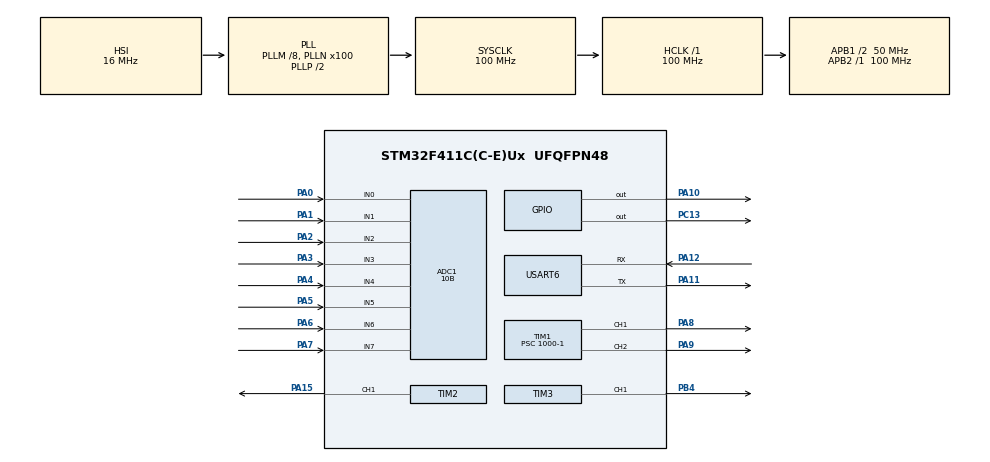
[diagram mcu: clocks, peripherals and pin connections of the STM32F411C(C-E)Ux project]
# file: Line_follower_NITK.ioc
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ADC1.Channel-0\#ChannelRegularConversion=ADC_CHANNEL_0
ADC1.Channel-1\#ChannelRegularConversion=ADC_CHANNEL_1
ADC1.Channel-10\#ChannelRegularConversion=ADC_CHANNEL_6
ADC1.Channel-11\#ChannelRegularConversion=ADC_CHANNEL_7
ADC1.Channel-6\#ChannelRegularConversion=ADC_CHANNEL_2
ADC1.Channel-7\#ChannelRegularConversion=ADC_CHANNEL_3
ADC1.Channel-8\#ChannelRegularConversion=ADC_CHANNEL_4
ADC1.Channel-9\#ChannelRegularConversion=ADC_CHANNEL_5
ADC1.ClockPrescaler=ADC_CLOCK_SYNC_PCLK_DIV4
ADC1.ContinuousConvMode=DISABLE
ADC1.DMAContinuousRequests=ENABLE
ADC1.EOCSelection=ADC_EOC_SEQ_CONV
ADC1.InjNumberOfConversion=0
ADC1.NbrOfConversion=8
ADC1.NbrOfConversionFlag=1
ADC1.Rank-0\#ChannelRegularConversion=1
ADC1.Rank-1\#ChannelRegularConversion=2
ADC1.Rank-10\#ChannelRegularConversion=7
ADC1.Rank-11\#ChannelRegularConversion=8
ADC1.Rank-6\#ChannelRegularConversion=3
ADC1.Rank-7\#ChannelRegularConversion=4
ADC1.Rank-8\#ChannelRegularConversion=5
ADC1.Rank-9\#ChannelRegularConversion=6
ADC1.Resolution=ADC_RESOLUTION_10B
ADC1.SamplingTime-0\#ChannelRegularConversion=ADC_SAMPLETIME_84CYCLES
ADC1.SamplingTime-1\#ChannelRegularConversion=ADC_SAMPLETIME_84CYCLES
ADC1.SamplingTime-10\#ChannelRegularConversion=ADC_SAMPLETIME_84CYCLES
ADC1.SamplingTime-11\#ChannelRegularConversion=ADC_SAMPLETIME_84CYCLES
ADC1.SamplingTime-6\#ChannelRegularConversion=ADC_SAMPLETIME_84CYCLES
ADC1.SamplingTime-7\#ChannelRegularConversion=ADC_SAMPLETIME_84CYCLES
ADC1.SamplingTime-8\#ChannelRegularConversion=ADC_SAMPLETIME_84CYCLES
ADC1.SamplingTime-9\#ChannelRegularConversion=ADC_SAMPLETIME_84CYCLES
ADC1.ScanConvMode=ENABLE
ADC1.master=1
Dma.ADC1.0.Direction=DMA_PERIPH_TO_MEMORY
Dma.ADC1.0.FIFOMode=DMA_FIFOMODE_DISABLE
Dma.ADC1.0.Instance=DMA2_Stream0
Dma.ADC1.0.MemDataAlignment=DMA_MDATAALIGN_WORD
Dma.ADC1.0.MemInc=DMA_MINC_ENABLE
Dma.ADC1.0.Mode=DMA_NORMAL
Dma.ADC1.0.PeriphDataAlignment=DMA_PDATAALIGN_WORD
Dma.ADC1.0.PeriphInc=DMA_PINC_DISABLE
Dma.ADC1.0.Priority=DMA_PRIORITY_VERY_HIGH
Dma.Request0=ADC1
Dma.Request1=USART6_RX
Dma.USART6_RX.1.Direction=DMA_PERIPH_TO_MEMORY
Dma.USART6_RX.1.FIFOMode=DMA_FIFOMODE_DISABLE
Dma.USART6_RX.1.Instance=DMA2_Stream1
Dma.USART6_RX.1.MemDataAlignment=DMA_MDATAALIGN_BYTE
Dma.USART6_RX.1.MemInc=DMA_MINC_ENABLE
Dma.USART6_RX.1.Mode=DMA_NORMAL
Dma.USART6_RX.1.PeriphDataAlignment=DMA_PDATAALIGN_BYTE
Dma.USART6_RX.1.PeriphInc=DMA_PINC_DISABLE
Dma.USART6_RX.1.Priority=DMA_PRIORITY_LOW
Mcu.Family=STM32F4
Mcu.Name=STM32F411C(C-E)Ux
Mcu.Package=UFQFPN48
NVIC.ADC_IRQn=true\:0\:0\:false\:true\:true\:1\:true\:true\:true
NVIC.DMA2_Stream0_IRQn=true\:0\:0\:true\:false\:true\:false\:true\:true
NVIC.DMA2_Stream1_IRQn=true\:0\:0\:false\:false\:true\:false\:true\:true
NVIC.PriorityGroup=NVIC_PRIORITYGROUP_4
NVIC.USART6_IRQn=true\:0\:0\:false\:false\:true\:true\:true\:true
PA0-WKUP.Signal=ADCx_IN0
PA1.Signal=ADCx_IN1
PA10.GPIO_PuPd=GPIO_PULLDOWN
PA10.Signal=GPIO_Output
PA11.Mode=Asynchronous
PA11.Signal=USART6_TX
PA12.Mode=Asynchronous
PA12.Signal=USART6_RX
PA13.Mode=Trace_Asynchronous_SW
PA13.Signal=SYS_JTMS-SWDIO
PA14.Mode=Trace_Asynchronous_SW
PA14.Signal=SYS_JTCK-SWCLK
PA15.Signal=S_TIM2_CH1_ETR
PA2.Signal=ADCx_IN2
PA3.Signal=ADCx_IN3
PA4.Signal=ADCx_IN4
PA5.Signal=ADCx_IN5
PA6.Signal=ADCx_IN6
PA7.Signal=ADCx_IN7
PA8.Signal=S_TIM1_CH1
PA9.Signal=S_TIM1_CH2
PB3.Mode=Trace_Asynchronous_SW
PB3.Signal=SYS_JTDO-SWO
PB4.Signal=S_TIM3_CH1
PC13-ANTI_TAMP.Signal=GPIO_Output
PH0\ -\ OSC_IN.Mode=HSE-External-Oscillator
PH0\ -\ OSC_IN.Signal=RCC_OSC_IN
PH1\ -\ OSC_OUT.Mode=HSE-External-Oscillator
PH1\ -\ OSC_OUT.Signal=RCC_OSC_OUT
ProjectManager.HeapSize=0x200
ProjectManager.StackSize=0x400
ProjectManager.TargetToolchain=STM32CubeIDE
RCC.48MHZClocksFreq_Value=50000000
RCC.AHBFreq_Value=100000000
RCC.APB1CLKDivider=RCC_HCLK_DIV2
RCC.APB1Freq_Value=50000000
RCC.APB1TimFreq_Value=100000000
RCC.APB2Freq_Value=100000000
RCC.APB2TimFreq_Value=100000000
RCC.CortexFreq_Value=100000000
RCC.HCLKFreq_Value=100000000
RCC.HSE_VALUE=25000000
RCC.HSI_VALUE=16000000
RCC.LSE_VALUE=32768
RCC.PLLM=8
RCC.PLLN=100
RCC.SYSCLKFreq_VALUE=100000000
RCC.SYSCLKSource=RCC_SYSCLKSOURCE_PLLCLK
RCC.VCOOutputFreq_Value=200000000
SH.ADCx_IN0.0=ADC1_IN0,IN0
SH.ADCx_IN1.0=ADC1_IN1,IN1
SH.ADCx_IN2.0=ADC1_IN2,IN2
SH.ADCx_IN3.0=ADC1_IN3,IN3
SH.ADCx_IN4.0=ADC1_IN4,IN4
SH.ADCx_IN5.0=ADC1_IN5,IN5
SH.ADCx_IN6.0=ADC1_IN6,IN6
SH.ADCx_IN7.0=ADC1_IN7,IN7
SH.S_TIM1_CH1.0=TIM1_CH1,PWM Generation1 CH1
SH.S_TIM1_CH2.0=TIM1_CH2,PWM Generation2 CH2
SH.S_TIM2_CH1_ETR.0=TIM2_CH1,PWM Generation1 CH1
SH.S_TIM3_CH1.0=TIM3_CH1,PWM Generation1 CH1
TIM1.Channel-PWM\ Generation1\ CH1=TIM_CHANNEL_1
TIM1.Channel-PWM\ Generation2\ CH2=TIM_CHANNEL_2
TIM1.Period=200
TIM1.Prescaler=1000-1
TIM2.Channel-PWM\ Generation1\ CH1=TIM_CHANNEL_1
TIM2.Period=200
TIM2.Prescaler=1000-1
TIM3.Channel-PWM\ Generation1\ CH1=TIM_CHANNEL_1
TIM3.Period=100
TIM3.Prescaler=1000-1
USART6.VirtualMode=VM_ASYNC
board=custom

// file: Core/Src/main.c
/* USER CODE BEGIN Header */
/**
  ******************************************************************************
  * @file           : main.c
  * @brief          : Main program body
  ******************************************************************************
  * @attention
  *
  * Copyright (c) 2024 STMicroelectronics.
  * All rights reserved.
  *
  * This software is licensed under terms that can be found in the LICENSE file
  * in the root directory of this software component.
  * If no LICENSE file comes with this software, it is provided AS-IS.
  *
  ******************************************************************************
  */
/* USER CODE END Header */
#include "main.h"

/* USER CODE BEGIN Includes */
#include "stdbool.h"
#include "stdlib.h"
#include "string.h"
#include "stdio.h"
/* USER CODE END Includes */

ADC_HandleTypeDef hadc1;
DMA_HandleTypeDef hdma_adc1;

TIM_HandleTypeDef htim1;
TIM_HandleTypeDef htim2;
TIM_HandleTypeDef htim3;

UART_HandleTypeDef huart6;
DMA_HandleTypeDef hdma_usart6_rx;

/* USER CODE BEGIN PV */

uint32_t channels[3] = { ADC_CHANNEL_0, ADC_CHANNEL_1, ADC_CHANNEL_2,ADC_CHANNEL_3, ADC_CHANNEL_4, ADC_CHANNEL_5, ADC_CHANNEL_6,ADC_CHANNEL_7 }, adc_buffer[8];
uint8_t rx_buffer[16] , main_buffer[16];
int i ;

//int P, D, I, previousError, PIDvalue;
//double error;
//int lsp, rsp;
//int lfSpeed = 100;
//int currentSpeed = 150;
int sensorWeight[8] = {70, 60, 50, 40, 30, 20, 10, 0};
//int activeSensors;
float Kp = 13.5;
float Kd = 4;
float Ki = 0.01;
int thresh = 900;
//int onLine = 1;
int minValues[8], maxValues[8], threshold[8], sensorValue[8], sensorArray[8];
//
//bool brakeFlag = 0;

double error, P, I, D;
int setpoint = 35;
double correction = 0, lastInput = 0;
uint32_t lastTime = 0;
double integralMin = -25.0, integralMax = 25.0;
//double base_speed_right = 150;
//double base_speed_left = 150;
double base_speed = 200;
int turn;
int junction;
int junction_flag = 0;
int loop_counter = 0;
int last_turn = 0;

char message[8];

/* USER CODE END PV */

void SystemClock_Config(void);
static void MX_GPIO_Init(void);
static void MX_DMA_Init(void);
static void MX_ADC1_Init(void);
static void MX_TIM1_Init(void);
static void MX_TIM2_Init(void);
static void MX_TIM3_Init(void);
static void MX_USART6_UART_Init(void);
static void MX_NVIC_Init(void);

/* USER CODE BEGIN 0 */

int _write(int file, char *ptr, int len) {
	int DataIdx;
	for (DataIdx = 0; DataIdx < len; DataIdx++) {
		ITM_SendChar(*ptr++);
	}
	return len;
}
void setMotorSpeed(uint8_t motor, int32_t speed) {
	uint16_t pwm = abs(speed);
	if (pwm > 200)
		pwm = 200;

	if (motor == 0) { // Motor 1
		if (speed > 0) {
			TIM1->CCR1 = pwm;  // Set PWM duty cycle for channel 1
			TIM1->CCR2 = 0;          // Set PWM duty cycle for channel 2
		} else {
			TIM1->CCR1 = 0;          // Set PWM duty cycle for channel 1
			TIM1->CCR2 = pwm;  // Set PWM duty cycle for channel 2
		}
	} else if (motor == 1) { // Motor 2
		if (speed > 0) {
			TIM2->CCR1 = pwm;  // Set PWM duty cycle for channel 3
			TIM3->CCR1 = 0;          // Set PWM duty cycle for channel 4
		} else {
			TIM2->CCR1 = 0;          // Set PWM duty cycle for channel 3
			TIM3->CCR1 = pwm;  // Set PWM duty cycle for channel 4
		}
	}

}

void setPIDParameter(char *input) {
    char *ptr = input;

    while (*ptr != '\0') {
        char type = *ptr;
        ptr++;

        char valueStr[10] = {0};
        int i = 0;

        while (*ptr != 'P' && *ptr != 'p' && *ptr != 'I' && *ptr != 'i' && *ptr != 'D' && *ptr != 'd' && *ptr != 'T' && *ptr != 't' && *ptr != '\0') {
            valueStr[i++] = *ptr++;
        }

        float value = atof(valueStr);

        switch (type) {
            case 'P': case 'p':
                Kp = value;
                break;
            case 'I': case 'i':
                Ki = value;
                break;
            case 'D': case 'd':
                Kd = value;
                break;
            case 'T': case 't':
            	thresh = value;
                break;
        }

    }
}

void HAL_UARTEx_RxEventCallback(UART_HandleTypeDef *huart, uint16_t Size){

	if (huart->Instance == USART6){
		memset(main_buffer , '\0' , 16);
		memcpy(main_buffer , rx_buffer , Size);
		memset(rx_buffer , '\0' , 16);
		HAL_UARTEx_ReceiveToIdle_DMA(&huart6, rx_buffer, 16);
		__HAL_DMA_DISABLE_IT(&hdma_usart6_rx , DMA_IT_HT);
		setPIDParameter((uint8_t*) main_buffer);
	}
}

//void readLine() {
////  onLine = 0;
//  for (int i = 0; i < 8; i++) {
//    sensorArray[i] = adc_buffer[i] > 500;
////    sprintf(message , " %s ", adc_buffer);
////    HAL_UART_Transmit(&huart6, message,  sizeof(message) , HAL_MAX_DELAY);
////    sprintf(message , " %d ", sensorArray[i]);
////    HAL_UART_Transmit(&huart6, sensorArray,  strlen(message), HAL_MAX_DELAY);
////    if (sensorArray[i]) onLine = 1;
//  }
//
//}

int line_data() {
    int sum = 0;
    int weighted_sum = 0;
    int onLine = 0;

    for (int i = 0; i < 8; i++) {
        if (adc_buffer[i]  > thresh) {
            weighted_sum += sensorWeight[i];
            sum += 1;
            onLine = 1;
        }

    }

    if (!onLine) {
        return 255;
    }

    int position = weighted_sum / sum;
    return position;
}

void computePID(double error, int32_t input) {

	double timeChange = (double) (HAL_GetTick() - lastTime);
//	printf("Inside compute pid error = %f\n", error);
	P = Kp * error;
	I += Ki * error * timeChange;
	if (I > integralMax) I = integralMax;
	if (I < integralMin) I = integralMin;
	D = Kd * (input - lastInput) / timeChange;

	correction = P + I + D;
	lastInput = input;
	lastTime = HAL_GetTick();
	correction = floor(correction);
//	base_speed_right = floor(base_speed_right);
//	base_speed_left = floor(base_speed_left);

//	printf("input = %d\n", input);
//	printf("lastinput = %lf\n", lastInput);
//	printf("P = %f\n", P);
//	printf("I = %f\n", I);
//	printf("D = %f\n", D);
////	base_speed_right -= correction;
////	base_speed_left += correction;
//	printf("correction = %f\n", correction);
////	printf("motor0: %f, motor1:%f\n" ,base_speed_left,base_speed_right);
////	setMotorSpeed(0, base_speed_left);
////	setMotorSpeed(1, base_speed_right);
//	printf("motor0: %f, motor1:%f\n", base_speed + correction,
//			base_speed - correction);
	setMotorSpeed(0, base_speed - correction);
	setMotorSpeed(1, base_speed + correction);

}

/* USER CODE END 0 */

int main(void)
{

  /* MCU Configuration--------------------------------------------------------*/

  /* Reset of all peripherals, Initializes the Flash interface and the Systick. */
  HAL_Init();

  /* Configure the system clock */
  SystemClock_Config();

  /* Initialize all configured peripherals */
  MX_GPIO_Init();
  MX_DMA_Init();
  MX_ADC1_Init();
  MX_TIM1_Init();
  MX_TIM2_Init();
  MX_TIM3_Init();
  MX_USART6_UART_Init();

  /* Initialize interrupts */
  MX_NVIC_Init();
  /* USER CODE BEGIN 2 */
	HAL_ADC_Start_IT(&hadc1);
	HAL_ADC_Start_DMA(&hadc1, (uint32_t*) adc_buffer, 8);
	HAL_TIM_PWM_Start(&htim1, TIM_CHANNEL_1);
	HAL_TIM_PWM_Start(&htim1, TIM_CHANNEL_2);
	HAL_TIM_PWM_Start(&htim3, TIM_CHANNEL_1);
	HAL_TIM_PWM_Start(&htim2, TIM_CHANNEL_1);
	HAL_UARTEx_ReceiveToIdle_DMA(&huart6, rx_buffer, 16);
	__HAL_DMA_DISABLE_IT(&hdma_usart6_rx , DMA_IT_HT);

  /* USER CODE END 2 */

  /* Infinite loop */
  while (1)
  {

    /* USER CODE BEGIN 3 */
		for (int i = 0; i < 8; i++) {
			if (adc_buffer[i] > 500){
				//printf(" | ");
				HAL_UART_Transmit(&huart6," | " , 3, HAL_MAX_DELAY);
			}
			else{
				//printf(" 0 ");
				HAL_UART_Transmit(&huart6," 0 " , 3, HAL_MAX_DELAY);
			}

//			printf("%d  ", adc_buffer[i]);
		}
		//printf("\n");
//		HAL_UART_Transmit(&huart6," \n " , 3, HAL_MAX_DELAY);
//		HAL_ADC_Start_DMA(&hadc1, (uint32_t*) adc_buffer, 8);
	 int input = line_data();

	    turn = (input > 50 && input <= 70) ? -1 : (input < 20) ? -1 : turn;

	    if (turn) {
	        while (input == 255) {

	            if (turn == 1) {
	                setMotorSpeed(0, 150);
	                setMotorSpeed(1, -150);
	            } else if (turn == -1) {
	                setMotorSpeed(0, -150);
	                setMotorSpeed(1, 150);
	            }
	    		HAL_ADC_Start_DMA(&hadc1, (uint32_t*) adc_buffer, 8);
	            input = line_data();

	        }
			HAL_ADC_Start_DMA(&hadc1, (uint32_t*) adc_buffer, 8);
	        input = line_data();
	    }

	    turn = (input > 52 && input <= 70) ? -1 : (input < 20) ? 1 : turn;

	    if (input == 255) {
	        continue;
	    }
	    sprintf(message , " %d\n ", line_data());
	    HAL_UART_Transmit(&huart6, (uint8_t *)message,  strlen(message), HAL_MAX_DELAY);

	    double error = input - setpoint;
	    computePID(error, input);

//		for (i = 0; i < 200; ++i) {
//			setMotorSpeed(0, i);
//			setMotorSpeed(1, i);
//		    sprintf(message , " %d\n ", i);
//			 HAL_UART_Transmit(&huart6, (uint8_t *)message,  strlen(message), HAL_MAX_DELAY);
//			HAL_Delay(500);
//		}

		HAL_ADC_Start_DMA(&hadc1, (uint32_t*) adc_buffer, 8);

  }
  /* USER CODE END 3 */
}

void SystemClock_Config(void)
{
  RCC_OscInitTypeDef RCC_OscInitStruct = {0};
  RCC_ClkInitTypeDef RCC_ClkInitStruct = {0};

  /** Configure the main internal regulator output voltage
  */
  __HAL_RCC_PWR_CLK_ENABLE();
  __HAL_PWR_VOLTAGESCALING_CONFIG(PWR_REGULATOR_VOLTAGE_SCALE1);

  /** Initializes the RCC Oscillators according to the specified parameters
  * in the RCC_OscInitTypeDef structure.
  */
  RCC_OscInitStruct.OscillatorType = RCC_OSCILLATORTYPE_HSI;
  RCC_OscInitStruct.HSIState = RCC_HSI_ON;
  RCC_OscInitStruct.HSICalibrationValue = RCC_HSICALIBRATION_DEFAULT;
  RCC_OscInitStruct.PLL.PLLState = RCC_PLL_ON;
  RCC_OscInitStruct.PLL.PLLSource = RCC_PLLSOURCE_HSI;
  RCC_OscInitStruct.PLL.PLLM = 8;
  RCC_OscInitStruct.PLL.PLLN = 100;
  RCC_OscInitStruct.PLL.PLLP = RCC_PLLP_DIV2;
  RCC_OscInitStruct.PLL.PLLQ = 4;
  if (HAL_RCC_OscConfig(&RCC_OscInitStruct) != HAL_OK)
  {
    Error_Handler();
  }

  /** Initializes the CPU, AHB and APB buses clocks
  */
  RCC_ClkInitStruct.ClockType = RCC_CLOCKTYPE_HCLK|RCC_CLOCKTYPE_SYSCLK
                              |RCC_CLOCKTYPE_PCLK1|RCC_CLOCKTYPE_PCLK2;
  RCC_ClkInitStruct.SYSCLKSource = RCC_SYSCLKSOURCE_PLLCLK;
  RCC_ClkInitStruct.AHBCLKDivider = RCC_SYSCLK_DIV1;
  RCC_ClkInitStruct.APB1CLKDivider = RCC_HCLK_DIV2;
  RCC_ClkInitStruct.APB2CLKDivider = RCC_HCLK_DIV1;

  if (HAL_RCC_ClockConfig(&RCC_ClkInitStruct, FLASH_LATENCY_3) != HAL_OK)
  {
    Error_Handler();
  }
}

/**
  * @brief NVIC Configuration.
  * @retval None
  */
static void MX_NVIC_Init(void)
{
  /* ADC_IRQn interrupt configuration */
  HAL_NVIC_SetPriority(ADC_IRQn, 0, 0);
  HAL_NVIC_EnableIRQ(ADC_IRQn);
}

static void MX_ADC1_Init(void)
{

  ADC_ChannelConfTypeDef sConfig = {0};

  /** Configure the global features of the ADC (Clock, Resolution, Data Alignment and number of conversion)
  */
  hadc1.Instance = ADC1;
  hadc1.Init.ClockPrescaler = ADC_CLOCK_SYNC_PCLK_DIV4;
  hadc1.Init.Resolution = ADC_RESOLUTION_10B;
  hadc1.Init.ScanConvMode = ENABLE;
  hadc1.Init.ContinuousConvMode = DISABLE;
  hadc1.Init.DiscontinuousConvMode = DISABLE;
  hadc1.Init.ExternalTrigConvEdge = ADC_EXTERNALTRIGCONVEDGE_NONE;
  hadc1.Init.ExternalTrigConv = ADC_SOFTWARE_START;
  hadc1.Init.DataAlign = ADC_DATAALIGN_RIGHT;
  hadc1.Init.NbrOfConversion = 8;
  hadc1.Init.DMAContinuousRequests = ENABLE;
  hadc1.Init.EOCSelection = ADC_EOC_SEQ_CONV;
  if (HAL_ADC_Init(&hadc1) != HAL_OK)
  {
    Error_Handler();
  }

  /** Configure for the selected ADC regular channel its corresponding rank in the sequencer and its sample time.
  */
  sConfig.Channel = ADC_CHANNEL_0;
  sConfig.Rank = 1;
  sConfig.SamplingTime = ADC_SAMPLETIME_84CYCLES;
  if (HAL_ADC_ConfigChannel(&hadc1, &sConfig) != HAL_OK)
  {
    Error_Handler();
  }

  /** Configure for the selected ADC regular channel its corresponding rank in the sequencer and its sample time.
  */
  sConfig.Channel = ADC_CHANNEL_1;
  sConfig.Rank = 2;
  if (HAL_ADC_ConfigChannel(&hadc1, &sConfig) != HAL_OK)
  {
    Error_Handler();
  }

  /** Configure for the selected ADC regular channel its corresponding rank in the sequencer and its sample time.
  */
  sConfig.Channel = ADC_CHANNEL_2;
  sConfig.Rank = 3;
  if (HAL_ADC_ConfigChannel(&hadc1, &sConfig) != HAL_OK)
  {
    Error_Handler();
  }

  /** Configure for the selected ADC regular channel its corresponding rank in the sequencer and its sample time.
  */
  sConfig.Channel = ADC_CHANNEL_3;
  sConfig.Rank = 4;
  if (HAL_ADC_ConfigChannel(&hadc1, &sConfig) != HAL_OK)
  {
    Error_Handler();
  }

  /** Configure for the selected ADC regular channel its corresponding rank in the sequencer and its sample time.
  */
  sConfig.Channel = ADC_CHANNEL_4;
  sConfig.Rank = 5;
  if (HAL_ADC_ConfigChannel(&hadc1, &sConfig) != HAL_OK)
  {
    Error_Handler();
  }

  /** Configure for the selected ADC regular channel its corresponding rank in the sequencer and its sample time.
  */
  sConfig.Channel = ADC_CHANNEL_5;
  sConfig.Rank = 6;
  if (HAL_ADC_ConfigChannel(&hadc1, &sConfig) != HAL_OK)
  {
    Error_Handler();
  }

  /** Configure for the selected ADC regular channel its corresponding rank in the sequencer and its sample time.
  */
  sConfig.Channel = ADC_CHANNEL_6;
  sConfig.Rank = 7;
  if (HAL_ADC_ConfigChannel(&hadc1, &sConfig) != HAL_OK)
  {
    Error_Handler();
  }

  /** Configure for the selected ADC regular channel its corresponding rank in the sequencer and its sample time.
  */
  sConfig.Channel = ADC_CHANNEL_7;
  sConfig.Rank = 8;
  if (HAL_ADC_ConfigChannel(&hadc1, &sConfig) != HAL_OK)
  {
    Error_Handler();
  }

}

static void MX_TIM1_Init(void)
{

  TIM_MasterConfigTypeDef sMasterConfig = {0};
  TIM_OC_InitTypeDef sConfigOC = {0};
  TIM_BreakDeadTimeConfigTypeDef sBreakDeadTimeConfig = {0};

  htim1.Instance = TIM1;
  htim1.Init.Prescaler = 1000-1;
  htim1.Init.CounterMode = TIM_COUNTERMODE_UP;
  htim1.Init.Period = 200;
  htim1.Init.ClockDivision = TIM_CLOCKDIVISION_DIV1;
  htim1.Init.RepetitionCounter = 0;
  htim1.Init.AutoReloadPreload = TIM_AUTORELOAD_PRELOAD_DISABLE;
  if (HAL_TIM_PWM_Init(&htim1) != HAL_OK)
  {
    Error_Handler();
  }
  sMasterConfig.MasterOutputTrigger = TIM_TRGO_RESET;
  sMasterConfig.MasterSlaveMode = TIM_MASTERSLAVEMODE_DISABLE;
  if (HAL_TIMEx_MasterConfigSynchronization(&htim1, &sMasterConfig) != HAL_OK)
  {
    Error_Handler();
  }
  sConfigOC.OCMode = TIM_OCMODE_PWM1;
  sConfigOC.Pulse = 0;
  sConfigOC.OCPolarity = TIM_OCPOLARITY_HIGH;
  sConfigOC.OCNPolarity = TIM_OCNPOLARITY_HIGH;
  sConfigOC.OCFastMode = TIM_OCFAST_DISABLE;
  sConfigOC.OCIdleState = TIM_OCIDLESTATE_RESET;
  sConfigOC.OCNIdleState = TIM_OCNIDLESTATE_RESET;
  if (HAL_TIM_PWM_ConfigChannel(&htim1, &sConfigOC, TIM_CHANNEL_1) != HAL_OK)
  {
    Error_Handler();
  }
  if (HAL_TIM_PWM_ConfigChannel(&htim1, &sConfigOC, TIM_CHANNEL_2) != HAL_OK)
  {
    Error_Handler();
  }
  sBreakDeadTimeConfig.OffStateRunMode = TIM_OSSR_DISABLE;
  sBreakDeadTimeConfig.OffStateIDLEMode = TIM_OSSI_DISABLE;
  sBreakDeadTimeConfig.LockLevel = TIM_LOCKLEVEL_OFF;
  sBreakDeadTimeConfig.DeadTime = 0;
  sBreakDeadTimeConfig.BreakState = TIM_BREAK_DISABLE;
  sBreakDeadTimeConfig.BreakPolarity = TIM_BREAKPOLARITY_HIGH;
  sBreakDeadTimeConfig.AutomaticOutput = TIM_AUTOMATICOUTPUT_DISABLE;
  if (HAL_TIMEx_ConfigBreakDeadTime(&htim1, &sBreakDeadTimeConfig) != HAL_OK)
  {
    Error_Handler();
  }
  HAL_TIM_MspPostInit(&htim1);

}

static void MX_TIM2_Init(void)
{

  TIM_MasterConfigTypeDef sMasterConfig = {0};
  TIM_OC_InitTypeDef sConfigOC = {0};

  htim2.Instance = TIM2;
  htim2.Init.Prescaler = 1000-1;
  htim2.Init.CounterMode = TIM_COUNTERMODE_UP;
  htim2.Init.Period = 200;
  htim2.Init.ClockDivision = TIM_CLOCKDIVISION_DIV1;
  htim2.Init.AutoReloadPreload = TIM_AUTORELOAD_PRELOAD_DISABLE;
  if (HAL_TIM_PWM_Init(&htim2) != HAL_OK)
  {
    Error_Handler();
  }
  sMasterConfig.MasterOutputTrigger = TIM_TRGO_RESET;
  sMasterConfig.MasterSlaveMode = TIM_MASTERSLAVEMODE_DISABLE;
  if (HAL_TIMEx_MasterConfigSynchronization(&htim2, &sMasterConfig) != HAL_OK)
  {
    Error_Handler();
  }
  sConfigOC.OCMode = TIM_OCMODE_PWM1;
  sConfigOC.Pulse = 0;
  sConfigOC.OCPolarity = TIM_OCPOLARITY_HIGH;
  sConfigOC.OCFastMode = TIM_OCFAST_DISABLE;
  if (HAL_TIM_PWM_ConfigChannel(&htim2, &sConfigOC, TIM_CHANNEL_1) != HAL_OK)
  {
    Error_Handler();
  }
  HAL_TIM_MspPostInit(&htim2);

}

static void MX_TIM3_Init(void)
{

  TIM_MasterConfigTypeDef sMasterConfig = {0};
  TIM_OC_InitTypeDef sConfigOC = {0};

  htim3.Instance = TIM3;
  htim3.Init.Prescaler = 1000-1;
  htim3.Init.CounterMode = TIM_COUNTERMODE_UP;
  htim3.Init.Period = 100;
  htim3.Init.ClockDivision = TIM_CLOCKDIVISION_DIV1;
  htim3.Init.AutoReloadPreload = TIM_AUTORELOAD_PRELOAD_DISABLE;
  if (HAL_TIM_PWM_Init(&htim3) != HAL_OK)
  {
    Error_Handler();
  }
  sMasterConfig.MasterOutputTrigger = TIM_TRGO_RESET;
  sMasterConfig.MasterSlaveMode = TIM_MASTERSLAVEMODE_DISABLE;
  if (HAL_TIMEx_MasterConfigSynchronization(&htim3, &sMasterConfig) != HAL_OK)
  {
    Error_Handler();
  }
  sConfigOC.OCMode = TIM_OCMODE_PWM1;
  sConfigOC.Pulse = 0;
  sConfigOC.OCPolarity = TIM_OCPOLARITY_HIGH;
  sConfigOC.OCFastMode = TIM_OCFAST_DISABLE;
  if (HAL_TIM_PWM_ConfigChannel(&htim3, &sConfigOC, TIM_CHANNEL_1) != HAL_OK)
  {
    Error_Handler();
  }
  HAL_TIM_MspPostInit(&htim3);

}

static void MX_USART6_UART_Init(void)
{

  huart6.Instance = USART6;
  huart6.Init.BaudRate = 115200;
  huart6.Init.WordLength = UART_WORDLENGTH_8B;
  huart6.Init.StopBits = UART_STOPBITS_1;
  huart6.Init.Parity = UART_PARITY_NONE;
  huart6.Init.Mode = UART_MODE_TX_RX;
  huart6.Init.HwFlowCtl = UART_HWCONTROL_NONE;
  huart6.Init.OverSampling = UART_OVERSAMPLING_16;
  if (HAL_UART_Init(&huart6) != HAL_OK)
  {
    Error_Handler();
  }

}

static void MX_DMA_Init(void)
{

  /* DMA controller clock enable */
  __HAL_RCC_DMA2_CLK_ENABLE();

  /* DMA interrupt init */
  /* DMA2_Stream0_IRQn interrupt configuration */
  HAL_NVIC_SetPriority(DMA2_Stream0_IRQn, 0, 0);
  HAL_NVIC_EnableIRQ(DMA2_Stream0_IRQn);
  /* DMA2_Stream1_IRQn interrupt configuration */
  HAL_NVIC_SetPriority(DMA2_Stream1_IRQn, 0, 0);
  HAL_NVIC_EnableIRQ(DMA2_Stream1_IRQn);

}

static void MX_GPIO_Init(void)
{
  GPIO_InitTypeDef GPIO_InitStruct = {0};

  /* GPIO Ports Clock Enable */
  __HAL_RCC_GPIOC_CLK_ENABLE();
  __HAL_RCC_GPIOH_CLK_ENABLE();
  __HAL_RCC_GPIOA_CLK_ENABLE();
  __HAL_RCC_GPIOB_CLK_ENABLE();

  /*Configure GPIO pin Output Level */
  HAL_GPIO_WritePin(GPIOC, GPIO_PIN_13, GPIO_PIN_RESET);

  /*Configure GPIO pin Output Level */
  HAL_GPIO_WritePin(GPIOA, GPIO_PIN_10, GPIO_PIN_RESET);

  /*Configure GPIO pin : PC13 */
  GPIO_InitStruct.Pin = GPIO_PIN_13;
  GPIO_InitStruct.Mode = GPIO_MODE_OUTPUT_PP;
  GPIO_InitStruct.Pull = GPIO_NOPULL;
  GPIO_InitStruct.Speed = GPIO_SPEED_FREQ_LOW;
  HAL_GPIO_Init(GPIOC, &GPIO_InitStruct);

  /*Configure GPIO pin : PA10 */
  GPIO_InitStruct.Pin = GPIO_PIN_10;
  GPIO_InitStruct.Mode = GPIO_MODE_OUTPUT_PP;
  GPIO_InitStruct.Pull = GPIO_PULLDOWN;
  GPIO_InitStruct.Speed = GPIO_SPEED_FREQ_LOW;
  HAL_GPIO_Init(GPIOA, &GPIO_InitStruct);

}

void Error_Handler(void)
{
  __disable_irq();
  while (1)
  {
  }
}
